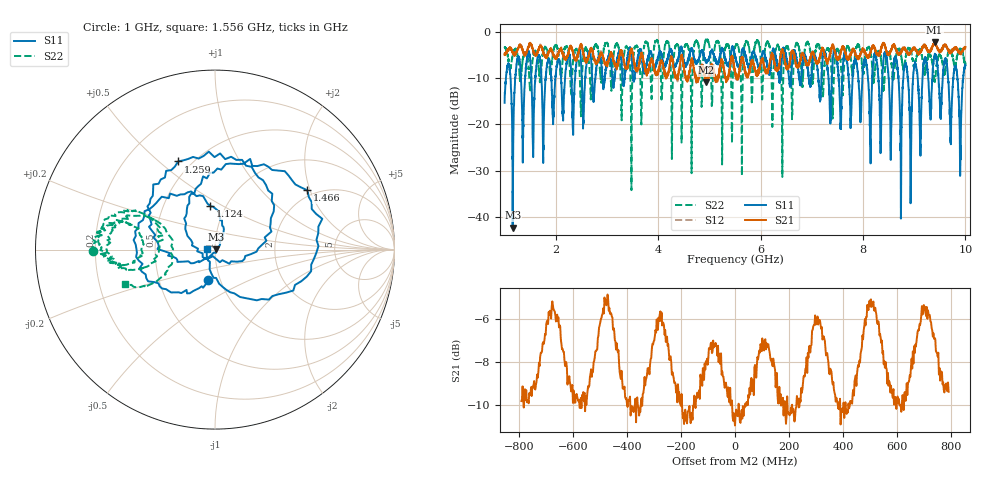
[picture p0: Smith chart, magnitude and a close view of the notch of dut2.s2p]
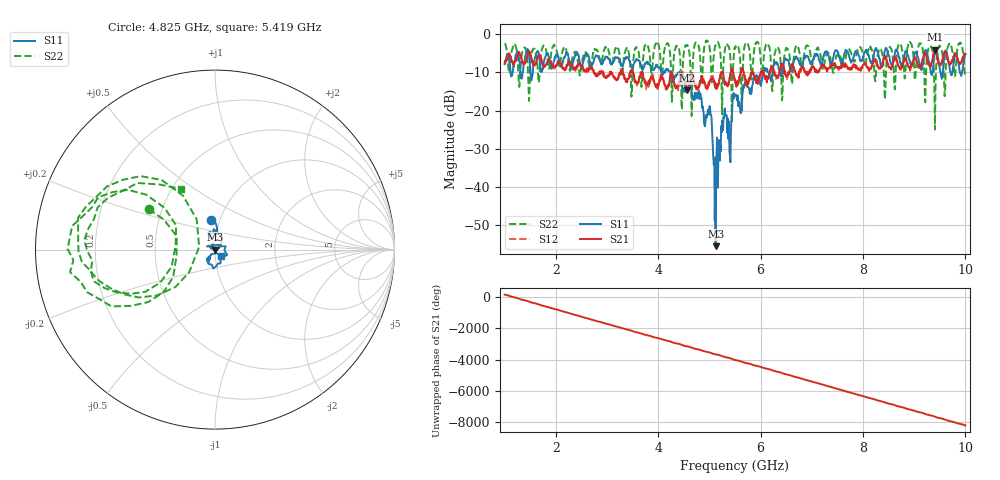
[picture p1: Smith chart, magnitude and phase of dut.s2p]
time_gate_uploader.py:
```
import dash
import dash_core_components as dcc
import dash_html_components as html
from dash.dependencies import Input, Output, State
import plotly.graph_objects as go
import numpy as np
import base64
import io

import skrf as rf
from skrf.time import detect_span


external_stylesheets = [
    "https://stackpath.bootstrapcdn.com/bootstrap/4.3.1/css/bootstrap.min.css",
    "https://codepen.io/chriddyp/pen/bWLwgP.css",
]

app = dash.Dash(__name__, external_stylesheets=external_stylesheets)


# FYI  The device under test was made with this
"""
air = rf.air
air.npoints =4001
dut = air.line(1000)**\
    air.shunt_delay_load(.4,100)**\
    air.line(4000)**\
    air.shunt(air.load(.7))**\
    air.line(1000)**\
    air.impedance_mismatch(1,3)
    #**air.short()
dut.add_noise_polar(.01,3e-5)
dut.write_touchstone('dut2.s2p')
"""


# pull out some frequency info to set slider bounds on center/span


######## ## the APP
app.layout = html.Div(
    className="page",
    children=[
        html.Div(
            className="sub_page",
            children=[
                # html.Div(className='col-2'),
                html.Div(
                    children=[
                        html.H3(
                            className="product",
                            children=[
                                "Time Gating",
                                html.A(
                                    href="http://www.plotly.com",
                                    children=[
                                        html.Img(
                                            src=app.get_asset_url("dash3.png"),
                                            style={"height": "50px", "float": "right"},
                                        )
                                    ],
                                ),
                                html.A(
                                    href="http://www.scikit-rf.org",
                                    children=[
                                        html.Img(
                                            src=app.get_asset_url("skrf1.png"),
                                            style={"height": "50px", "float": "right"},
                                        ),
                                    ],
                                ),
                            ],
                        ),
                        html.Div(
                            className="row",
                            children=[
                                html.Div(
                                    className="col-4",
                                    children=[
                                        html.Span(
                                            children=[
                                                html.Label(
                                                    "S-parameter: ", className="inline"
                                                ),
                                                dcc.RadioItems(
                                                    id="sparam-radio",
                                                    options=[
                                                        {
                                                            "label": "S11",
                                                            "value": "s11",
                                                        },
                                                        {
                                                            "label": "S21",
                                                            "value": "s21",
                                                        },
                                                        {
                                                            "label": "S12",
                                                            "value": "s12",
                                                        },
                                                        {
                                                            "label": "S22",
                                                            "value": "s22",
                                                        },
                                                    ],
                                                    value="s11",
                                                    labelStyle={
                                                        "display": "inline-block",
                                                        "margin": "6px",
                                                    },
                                                ),
                                            ]
                                        ),
                                        html.Label("Window Type: "),
                                        dcc.Dropdown(
                                            id="window-dropdown",
                                            options=[
                                                {"label": "kaiser", "value": "kaiser"},
                                                {"label": "boxcar", "value": "boxcar"},
                                                {
                                                    "label": "hamming",
                                                    "value": "hamming",
                                                },
                                            ],
                                            value="hamming",
                                        ),
                                        html.Label("Mode:  ", className="inline"),
                                        dcc.RadioItems(
                                            className="inline",
                                            id="mode-radio",
                                            options=[
                                                {"label": "pass", "value": "bandpass"},
                                                {"label": "stop", "value": "bandstop"},
                                            ],
                                            value="bandpass",
                                            labelStyle={
                                                "display": "inline-block",
                                                "margin": "6px",
                                            },
                                        ),
                                    ],
                                ),
                                html.Div(
                                    className="col",
                                    children=[
                                        dcc.Upload(
                                            id="upload-ntwk",
                                            children=[html.Button("Upload File")],
                                        ),
                                        html.Div(id="ntwk-name", children=["Div"]),
                                        html.Button(
                                            id="autogate-button", children="AutoGate"
                                        ),
                                        html.Label("Center Frequency(ns)"),
                                        dcc.Slider(
                                            id="center-slider",
                                            # min=-t_max, max=t_max, value=0, step=dt*10,
                                            # marks = {str(int(x)):str(int(x)) for x in np.linspace(-t_max,t_max,13)},
                                        ),
                                        html.Label("Span Frequency(ns)"),
                                        dcc.Slider(
                                            id="span-slider",
                                            # min=0, max=t_max, value=10, step=dt*10,
                                            # marks = {str(int(x)):str(int(x)) for x in np.linspace(-t_max,t_max,13)},
                                        ),
                                    ],
                                ),
                            ],
                        ),
                        html.Div(
                            [
                                dcc.Graph(
                                    id="time-graph", figure={"layout": {"height": 300}}
                                ),
                                dcc.Graph(
                                    id="freq-graph", figure={"layout": {"height": 400}}
                                ),
                            ]
                        ),
                    ]
                ),
            ],
        )
    ],
)


@app.callback(
    Output("center-slider", "min"),
    Output("center-slider", "max"),
    Input("upload-ntwk", "contents"),
    State("upload-ntwk", "filename"),
    State("upload-ntwk", "last_modified"),
)
def update_sliders(contents, filename, dates):
    dut = update_file(contents, filename, dates)
    freq = dut.frequency
    dt = freq.t_ns[1] - freq.t_ns[0]
    t_max = freq.t_ns.max()
    return -t_max, t_max


@app.callback(
    Output("time-graph", "figure"),
    Output("freq-graph", "figure"),
    Input("sparam-radio", "value"),
    Input("center-slider", "value"),
    Input("span-slider", "value"),
    Input("window-dropdown", "value"),
    Input("mode-radio", "value"),
    Input("upload-ntwk", "contents"),
    State("upload-ntwk", "filename"),
    State("upload-ntwk", "last_modified"),
)
def update_figure(sparam, center, span, window, mode, contents, filename, dates):
    """
    Update figures given a change in s-parameter of interest, or
    gate parameters
    """
    dut = update_file(contents, filename, dates)
    freq = dut.frequency
    dt = freq.t_ns[1] - freq.t_ns[0]
    t_max = freq.t_ns.max()

    if window == "kaiser":
        window = ("kaiser", 6)
    oneport = dut.__getattribute__(sparam)
    gated = oneport.time_gate(center=center, span=span, window=window, mode=mode)

    # time
    time_fig = go.Figure()
    time_fig.add_trace(
        go.Line(
            x=freq.t_ns, y=oneport.s_time_db.flatten(), line_color="#204a87", name="OG"
        )
    )

    time_fig.add_trace(go.Line(x=freq.t_ns, y=gated.s_time_db.flatten(), name="gated"))
    dat = oneport.s_time_db.flatten()
    span_height = (dat.min() * 1.5, dat.max() * 0.5)
    time_fig.update_layout(
        shapes=[
            dict(
                type="rect",
                xref="x",
                yref="y",
                x0=center - span / 2,
                y0=span_height[0],
                x1=center + span / 2,
                y1=span_height[1],
                fillcolor="lightgray",
                opacity=0.8,
                line_width=0,
                layer="below",
            )
        ]
    )

    time_fig.update_layout(
        legend=dict(yanchor="top", y=0.99, xanchor="left", x=0.01),
        margin=dict(l=20, r=20, t=40, b=20),
        title="Time Domain",
        xaxis_title="Time (ns)",
        yaxis_title="Magnitude (dB)",
        yaxis_range=(-80, 0),
    )

    # frequency
    freq_fig = go.Figure()
    freq_fig.add_trace(
        go.Line(
            x=freq.f_scaled, y=oneport.s_db.flatten(), name="OG", line_color="#204a87"
        )
    )

    freq_fig.add_trace(go.Line(x=freq.f_scaled, y=gated.s_db.flatten(), name="gated"))

    freq_fig.update_layout(
        legend=dict(yanchor="top", y=0.99, xanchor="left", x=0.01),
        margin=dict(l=20, r=20, t=40, b=20),
        title="Frequency",
        xaxis_title="Frequency (%s)" % dut.frequency.unit,
        yaxis_title="Magnitude (dB)",
        yaxis_range=(-60, 10),
    )
    return time_fig, freq_fig


@app.callback(
    Output("center-slider", "value"),
    Output("span-slider", "value"),
    Input("autogate-button", "n_clicks"),
    Input("sparam-radio", "value"),
)
def autogate(autogate, sparam):
    """
    Autogate chooses center/span values based on basic peak search
    """
    oneport = dut.__getattribute__(sparam)
    n = oneport.s_time_mag.argmax()
    center = oneport.frequency.t_ns[n]
    span = detect_span(oneport)
    return center, span


def update_file(contents, filename, dates):
    if contents is not None:
        print(filename)
        content_type, content_string = contents.split(",")
        decoded = base64.b64decode(content_string)
        dut = rf.Network()
        str_io = io.StringIO(decoded.decode("utf-8"))
        str_io.name = filename  # due to bug in skrf
        dut.read_touchstone(str_io)
        return dut

    else:
        return rf.Network("dut.s2p")


if __name__ == "__main__":
    app.run_server(debug=True)
```
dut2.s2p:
!Created with skrf (http://scikit-rf.org).
# GHz S RI R 376.73031366686166
!freq ReS11 ImS11 ReS21 ImS21 ReS12 ImS12 ReS22 ImS22
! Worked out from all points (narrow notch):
!   4001 points, 1 GHz to 10 GHz, reference 376.73 ohm
!   highest |S21| = -2.23 dB at 9.397 GHz (marker M1); lowest = -10.9 dB at 4.935 GHz (marker M2)
!   notch at M2: 5.7 dB deep, 132 MHz wide at half that depth
!   lowest |S11| = -42.3 dB at 1.157 GHz (marker M3), VSWR 1.02, Z = 382 + j1.94 ohm
!   |S11| at or under -10 dB: 8.876 GHz to 8.976 GHz (100.4 MHz wide, 1.12 % of centre); 9.663 GHz to 9.761 GHz (98.43 MHz wide, 1.01 % of centre); 9.843 GHz to 9.957 GHz (113.8 MHz wide, 1.15 % of centre)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
!   |S22| runs from -34.2 to -1.5 dB; largest |S21 - S12| = 0.054
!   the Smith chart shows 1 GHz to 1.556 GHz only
!   S11 on the Smith chart (normalised r, x): 1 GHz: 0.88, -0.30; 1.124 GHz: 0.85, +0.44; 1.259 GHz: 0.42, +0.58; 1.466 GHz: 1.82, +1.92; 1.556 GHz: 0.91, +0.00
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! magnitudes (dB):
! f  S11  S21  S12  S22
! 1 GHz  -15.3  -4.9  -4.8  -3.4
! 1.124 GHz  -12.3  -3.5  -3.6  -7.3
! 1.157 GHz  -42.3  -4.4  -4.5  -5.4
! 1.259 GHz  -5.5  -3.8  -3.7  -5.6
! 1.466 GHz  -4.3  -3.4  -3.0  -7.3
! 1.556 GHz  -27.0  -4.1  -3.9  -5.4
! 4.935 GHz  -6.2  -10.9  -10.2  -1.8
! 5.5 GHz  -5.4  -9.0  -8.9  -3.2
! 8.929 GHz  -37.0  -4.5  -4.6  -4.0
! 9.397 GHz  -5.1  -2.2  -2.4  -10.6
! 10 GHz  -7.2  -3.2  -3.3  -7.2
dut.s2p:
!Created with skrf (http://scikit-rf.org).
# GHz S RI R 376.73031366686166
!freq ReS11 ImS11 ReS21 ImS21 ReS12 ImS12 ReS22 ImS22
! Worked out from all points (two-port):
!   1001 points, 1 GHz to 10 GHz, reference 376.73 ohm
!   highest |S21| = -4.08 dB at 9.406 GHz (marker M1); lowest = -14.8 dB at 4.564 GHz (marker M2)
!   |S21| within 3 dB of the highest: 1.212 GHz to 1.338 GHz (126.4 MHz wide, 9.91 % of centre); 9.351 GHz to 9.47 GHz (119 MHz wide, 1.26 % of centre)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
!   lowest |S11| = -55.4 dB at 5.122 GHz (marker M3), VSWR 1.00, Z = 375 + j0.269 ohm
!   |S11| at or under -10 dB: 4.233 GHz to 4.409 GHz (176.2 MHz wide, 4.08 % of centre); 4.413 GHz to 6.059 GHz (1.646 GHz wide, 31.4 % of centre); 6.148 GHz to 6.238 GHz (89.84 MHz wide, 1.45 % of centre)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
!   |S22| runs from -25.0 to -1.7 dB; largest |S21 - S12| = 0.052
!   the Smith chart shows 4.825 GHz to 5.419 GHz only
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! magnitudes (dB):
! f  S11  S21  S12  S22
! 1 GHz  -7.9  -7.5  -7.7  -2.5
! 1.486 GHz  -6.8  -4.6  -5.0  -14.8
! 4.564 GHz  -12.4  -14.8  -14.1  -3.0
! 5.005 GHz  -18.8  -12.3  -12.6  -3.7
! 5.122 GHz  -55.4  -14.0  -13.5  -3.1
! 5.5 GHz  -15.8  -12.0  -12.9  -3.9
! 8.425 GHz  -4.4  -6.2  -5.9  -17.1
! 8.92 GHz  -7.5  -9.6  -8.9  -2.2
! 9.406 GHz  -4.4  -4.1  -4.1  -25.0
! 9.694 GHz  -9.1  -8.1  -8.1  -2.5
! 10 GHz  -5.2  -5.3  -5.2  -10.7
